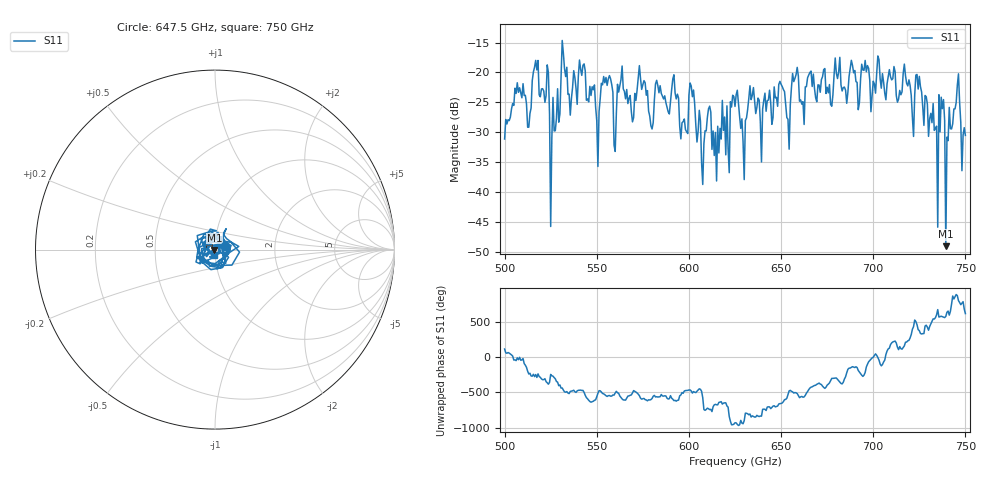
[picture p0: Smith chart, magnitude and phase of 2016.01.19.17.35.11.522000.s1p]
!Created with skrf (http://scikit-rf.org).
# GHz S RI R 50.0
!freq ReS11 ImS11
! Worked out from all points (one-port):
!   401 points, 500 GHz to 750 GHz, reference 50 ohm
!   lowest |S11| = -49.1 dB at 739.4 GHz (marker M1), VSWR 1.01, Z = 49.7 - j0.208 ohm
!   |S11| at or under -10 dB: start of sweep to end of sweep
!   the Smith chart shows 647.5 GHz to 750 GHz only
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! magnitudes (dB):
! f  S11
! 500 GHz  -31.1
! 506.9 GHz  -21.7
! 513.1 GHz  -29.2
! 516.9 GHz  -18.0
! 526.2 GHz  -24.2
! 531.2 GHz  -14.6
! 541.9 GHz  -20.5
! 550.6 GHz  -35.7
! 556.2 GHz  -21.1
! 560.6 GHz  -26.9
! 562.5 GHz  -22.2
! 593.8 GHz  -23.6
! 598.1 GHz  -29.6
! 601.2 GHz  -22.3
! 613.8 GHz  -33.9
! 625 GHz  -25.7
! 629.4 GHz  -31.6
! 633.8 GHz  -24.6
! 650 GHz  -22.0
! 653.8 GHz  -27.8
! 656.2 GHz  -20.2
! 687.5 GHz  -19.3
! 718.8 GHz  -22.2
! 733.8 GHz  -29.4
! 736.9 GHz  -24.1
! 739.4 GHz  -49.1
! 745.6 GHz  -22.1
! 750 GHz  -30.5
